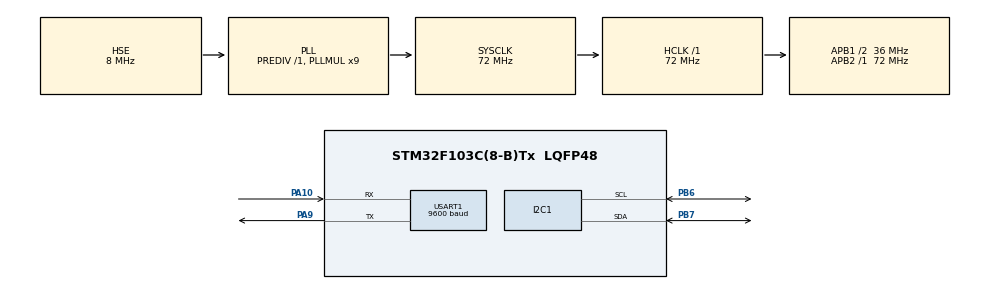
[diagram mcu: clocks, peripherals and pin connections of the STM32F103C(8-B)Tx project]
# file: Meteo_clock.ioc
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FREERTOS.Queues01=myQueue,5,uint16_t,0,Static,myQueueBuffer,myQueueControlBlock
FREERTOS.Tasks01=defaultTask,24,128,StartDefaultTask,Default,NULL,Dynamic,NULL,NULL;my_BME280_Task,8,200,Start_BME280_Task,Default,NULL,Static,my_BME280_TaskBuffer,my_BME280_TaskControlBlock;my_MHZ19B_Task,8,300,Start_MHZ19B_Task,Default,NULL,Static,my_MHZ19B_TaskBuffer,my_MHZ19B_TaskControlBlock
Mcu.Family=STM32F1
Mcu.Name=STM32F103C(8-B)Tx
Mcu.Package=LQFP48
NVIC.PriorityGroup=NVIC_PRIORITYGROUP_4
NVIC.TIM4_IRQn=true\:0\:0\:false\:false\:true\:false\:false\:true
NVIC.TimeBase=TIM4_IRQn
NVIC.TimeBaseIP=TIM4
NVIC.USART1_IRQn=true\:5\:0\:false\:false\:true\:true\:true\:true
PA10.Mode=Asynchronous
PA10.Signal=USART1_RX
PA13.Mode=Trace_Asynchronous_SW
PA13.Signal=SYS_JTMS-SWDIO
PA14.Mode=Trace_Asynchronous_SW
PA14.Signal=SYS_JTCK-SWCLK
PA9.Mode=Asynchronous
PA9.Signal=USART1_TX
PB3.Mode=Trace_Asynchronous_SW
PB3.Signal=SYS_JTDO-TRACESWO
PB6.Mode=I2C
PB6.Signal=I2C1_SCL
PB7.Mode=I2C
PB7.Signal=I2C1_SDA
PD0-OSC_IN.Mode=HSE-External-Oscillator
PD0-OSC_IN.Signal=RCC_OSC_IN
PD1-OSC_OUT.Mode=HSE-External-Oscillator
PD1-OSC_OUT.Signal=RCC_OSC_OUT
ProjectManager.HeapSize=0x200
ProjectManager.StackSize=0x400
ProjectManager.TargetToolchain=STM32CubeIDE
RCC.ADCPresc=RCC_ADCPCLK2_DIV6
RCC.AHBFreq_Value=72000000
RCC.APB1CLKDivider=RCC_HCLK_DIV2
RCC.APB1Freq_Value=36000000
RCC.APB1TimFreq_Value=72000000
RCC.APB2Freq_Value=72000000
RCC.APB2TimFreq_Value=72000000
RCC.HCLKFreq_Value=72000000
RCC.PLLMUL=RCC_PLL_MUL9
RCC.PLLSourceVirtual=RCC_PLLSOURCE_HSE
RCC.SYSCLKFreq_VALUE=72000000
RCC.SYSCLKSource=RCC_SYSCLKSOURCE_PLLCLK
RCC.USBFreq_Value=72000000
USART1.BaudRate=9600
USART1.VirtualMode=VM_ASYNC
VP_FREERTOS_VS_CMSIS_V2.Mode=CMSIS_V2
VP_SYS_VS_tim4.Mode=TIM4
board=custom

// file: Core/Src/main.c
/* USER CODE BEGIN Header */
/**
 ******************************************************************************
 * @file           : main.c
 * @brief          : Main program body
 ******************************************************************************
 * @attention
 *
 * <h2><center>&copy; Copyright (c) 2021 STMicroelectronics.
 * All rights reserved.</center></h2>
 *
 * This software component is licensed by ST under BSD 3-Clause license,
 * the "License"; You may not use this file except in compliance with the
 * License. You may obtain a copy of the License at:
 *                        opensource.org/licenses/BSD-3-Clause
 *
 ******************************************************************************
 */
/* USER CODE END Header */
#include "main.h"
#include "cmsis_os.h"

/* USER CODE BEGIN Includes */
#include <stdlib.h>  /* For BME280 */
#include <string.h>  /* For BME280 */
#include "bme280.h"  /* For BME280 */
#include <stdio.h>   /* For printf */
#include "i2c-lcd.h" /* For LCD */
/*-------------------------------для MH-Z19B------------------------------------*/
#define rx_buffer_size 64
uint8_t rx_buffer[rx_buffer_size] = { 0, };
uint16_t rx_buffer_len; // Переменная для длинны данных.
uint16_t CO2_concentration;
uint8_t tx_buffer[9] = { 0xFF, 0x01, 0x86, 0x00, 0x00, 0x00, 0x00, 0x00, 0x79 };
unsigned long T;
uint8_t crc_check;
/* USER CODE END Includes */

typedef StaticTask_t osStaticThreadDef_t;
typedef StaticQueue_t osStaticMessageQDef_t;

I2C_HandleTypeDef hi2c1;

UART_HandleTypeDef huart1;

/* Definitions for defaultTask */
osThreadId_t defaultTaskHandle;
const osThreadAttr_t defaultTask_attributes = { .name = "defaultTask",
		.priority = (osPriority_t) osPriorityNormal, .stack_size = 128 * 4 };
/* Definitions for my_BME280_Task */
osThreadId_t my_BME280_TaskHandle;
uint32_t my_BME280_TaskBuffer[200];
osStaticThreadDef_t my_BME280_TaskControlBlock;
const osThreadAttr_t my_BME280_Task_attributes = { .name = "my_BME280_Task",
		.stack_mem = &my_BME280_TaskBuffer[0], .stack_size =
				sizeof(my_BME280_TaskBuffer), .cb_mem =
				&my_BME280_TaskControlBlock, .cb_size =
				sizeof(my_BME280_TaskControlBlock), .priority =
				(osPriority_t) osPriorityLow, };
/* Definitions for my_MHZ19B_Task */
osThreadId_t my_MHZ19B_TaskHandle;
uint32_t my_MHZ19B_TaskBuffer[300];
osStaticThreadDef_t my_MHZ19B_TaskControlBlock;
const osThreadAttr_t my_MHZ19B_Task_attributes = { .name = "my_MHZ19B_Task",
		.stack_mem = &my_MHZ19B_TaskBuffer[0], .stack_size =
				sizeof(my_MHZ19B_TaskBuffer), .cb_mem =
				&my_MHZ19B_TaskControlBlock, .cb_size =
				sizeof(my_MHZ19B_TaskControlBlock), .priority =
				(osPriority_t) osPriorityLow, };
/* Definitions for myQueue */
osMessageQueueId_t myQueueHandle;
uint8_t myQueueBuffer[5 * sizeof(uint16_t)];
osStaticMessageQDef_t myQueueControlBlock;
const osMessageQueueAttr_t myQueue_attributes = { .name = "myQueue", .cb_mem =
		&myQueueControlBlock, .cb_size = sizeof(myQueueControlBlock), .mq_mem =
		&myQueueBuffer, .mq_size = sizeof(myQueueBuffer) };

void SystemClock_Config(void);
static void MX_GPIO_Init(void);
static void MX_I2C1_Init(void);
static void MX_USART1_UART_Init(void);
void StartDefaultTask(void *argument);
void Start_BME280_Task(void *argument);
void Start_MHZ19B_Task(void *argument);

/* USER CODE BEGIN 0 */
/*-----------------------------for prinf--------------------------------------*/
int _write(int file, uint8_t *ptr, int len) {
	for (int DataIdx = 0; DataIdx < len; DataIdx++) {
		ITM_SendChar(*ptr++);
	}
	return len;
}
/*-----------------------------For BME280--------------------------------------*/

float temperature;
float humidity;
float pressure;

struct bme280_dev dev;
struct bme280_data comp_data;
int8_t rslt;

char line1[16];
char line2[16];

int8_t user_i2c_read(uint8_t id, uint8_t reg_addr, uint8_t *data, uint16_t len) {
	if (HAL_I2C_Master_Transmit(&hi2c1, (id << 1), &reg_addr, 1, 10) != HAL_OK)
		return -1;
	if (HAL_I2C_Master_Receive(&hi2c1, (id << 1) | 0x01, data, len, 10)
			!= HAL_OK)
		return -1;

	return 0;
}

void user_delay_ms(uint32_t period) {
	HAL_Delay(period);
}

int8_t user_i2c_write(uint8_t id, uint8_t reg_addr, uint8_t *data, uint16_t len) {
	int8_t *buf;
	buf = malloc(len + 1);
	buf[0] = reg_addr;
	memcpy(buf + 1, data, len);

	if (HAL_I2C_Master_Transmit(&hi2c1, (id << 1), (uint8_t*) buf, len + 1,
	HAL_MAX_DELAY) != HAL_OK)
		return -1;

	free(buf);
	return 0;
}
/*-----------------------------для MH-Z19Bf--------------------------------------*/

/*------------------------IDLE_Callback---------------------------------------*/
void HAL_UART_IDLE_Callback(UART_HandleTypeDef *huart) {
	char str_co2[20] = {0};// for LCD
	if (huart == &huart1) { //проверка, из нужного ли uart пришли данные
		//printf("IDLE = OK\n\r");
		__HAL_UART_DISABLE_IT(&huart1, UART_IT_IDLE);
		rx_buffer_len = rx_buffer_size - huart->RxXferCount;

		/*----------основные действия с входящими данными-----------*/
/*		printf("rx_buffer = %X", rx_buffer[0]);
		printf(" %X", rx_buffer[1]);
		printf(" %X", rx_buffer[2]);
		printf(" %X", rx_buffer[3]);
		printf(" %X", rx_buffer[4]);
		printf(" %X", rx_buffer[5]);
		printf(" %X", rx_buffer[6]);
		printf(" %X", rx_buffer[7]);
		printf(" %X\r\n", rx_buffer[8]);
*/
		crc_check = (~(rx_buffer[1] + rx_buffer[2] + rx_buffer[3] + rx_buffer[4]
				+ rx_buffer[5] + rx_buffer[6] + rx_buffer[7]) + 1);
		if (crc_check == rx_buffer[8]) {
			printf("CRC = OK\r\n");
			CO2_concentration = rx_buffer[2] * 256 + rx_buffer[3];
			printf("CO2 = %d\r\n", CO2_concentration);
			sprintf(str_co2, "CO2:%d", CO2_concentration);
			lcd_put_cur(0, 8); // To LCD
			lcd_send_string(str_co2); // To LCD
			//lcd_send_string("mm.Hg");
		} else {
			printf("CRC != OK\r\n");
		}

		/*----------основные действия с входящими данными-----------*/

		HAL_UART_AbortReceive_IT(&huart1);
		__HAL_UART_CLEAR_IDLEFLAG(&huart1);
		__HAL_UART_ENABLE_IT(&huart1, UART_IT_IDLE);
		HAL_UART_Receive_IT(&huart1, rx_buffer, rx_buffer_size);
	}
}
/*------------------------IDLE_Callback---------------------------------------*/

/*------------------------RxCpltCallback---------------------------------------*/
void HAL_UART_RxCpltCallback(UART_HandleTypeDef *huart) {
	if (huart == &huart1) { //проверка, из нужного ли uart пришли данные
		printf("RxCpltCallback = OK\n\r");
		__HAL_UART_DISABLE_IT(&huart1, UART_IT_IDLE);

		printf("rx_buffer is overflow\n\r");

		HAL_UART_AbortReceive_IT(&huart1);
		__HAL_UART_CLEAR_IDLEFLAG(&huart1);
		__HAL_UART_ENABLE_IT(&huart1, UART_IT_IDLE);
		HAL_UART_Receive_IT(&huart1, rx_buffer, rx_buffer_size);

	}
}
/*------------------------RxCpltCallback---------------------------------------*/
/*------------------------End for MH-Z19Bf-------------------------------------*/
/* USER CODE END 0 */

int main(void) {

	/* MCU Configuration--------------------------------------------------------*/

	/* Reset of all peripherals, Initializes the Flash interface and the Systick. */
	HAL_Init();

	/* Configure the system clock */
	SystemClock_Config();

	/* Initialize all configured peripherals */
	MX_GPIO_Init();
	MX_I2C1_Init();
	MX_USART1_UART_Init();
	/* USER CODE BEGIN 2 */
	/* BME280 */
	dev.dev_id = BME280_I2C_ADDR_PRIM;
	dev.intf = BME280_I2C_INTF;
	dev.read = user_i2c_read;
	dev.write = user_i2c_write;
	dev.delay_ms = user_delay_ms;

	rslt = bme280_init(&dev);

	/* BME280 */
	dev.settings.osr_h = BME280_OVERSAMPLING_1X;
	dev.settings.osr_p = BME280_OVERSAMPLING_16X;
	dev.settings.osr_t = BME280_OVERSAMPLING_2X;
	dev.settings.filter = BME280_FILTER_COEFF_16;
	rslt = bme280_set_sensor_settings(
			BME280_OSR_PRESS_SEL | BME280_OSR_TEMP_SEL | BME280_OSR_HUM_SEL
					| BME280_FILTER_SEL, &dev);

	/*-----------------------------For LCD-------------------------------------*/
	lcd_init();
	lcd_clear(); // Очищаем LCD
	lcd_put_cur(0, 0); // Устанавливаем курсор в нужное место
	lcd_send_string("Hello World!");
	HAL_Delay(5000);
	lcd_clear(); // Очищаем LCD

	lcd_put_cur(1, 0); // Устанавливаем курсор в нужное место
	lcd_send_string("Cool, It works!");
	/*------------------------For MH-Z19Bf---------------------------------------*/
	__HAL_UART_ENABLE_IT(&huart1, UART_IT_IDLE);
	HAL_UART_Receive_IT(&huart1, rx_buffer, rx_buffer_size); // Прием данных
	T = HAL_GetTick();
	/*------------------------End for MH-Z19Bf---------------------------------------*/
	/* USER CODE END 2 */

	/* Init scheduler */
	osKernelInitialize();

	/* Create the queue(s) */
	/* creation of myQueue */
	myQueueHandle = osMessageQueueNew(5, sizeof(uint16_t), &myQueue_attributes);

	/* Create the thread(s) */
	/* creation of defaultTask */
	defaultTaskHandle = osThreadNew(StartDefaultTask, NULL,
			&defaultTask_attributes);

	/* creation of my_BME280_Task */
	my_BME280_TaskHandle = osThreadNew(Start_BME280_Task, NULL,
			&my_BME280_Task_attributes);

	/* creation of my_MHZ19B_Task */
	my_MHZ19B_TaskHandle = osThreadNew(Start_MHZ19B_Task, NULL,
			&my_MHZ19B_Task_attributes);

	/* Start scheduler */
	osKernelStart();

	/* We should never get here as control is now taken by the scheduler */
	/* Infinite loop */
	while (1) {

	}
}

void SystemClock_Config(void) {
	RCC_OscInitTypeDef RCC_OscInitStruct = { 0 };
	RCC_ClkInitTypeDef RCC_ClkInitStruct = { 0 };

	/** Initializes the RCC Oscillators according to the specified parameters
	 * in the RCC_OscInitTypeDef structure.
	 */
	RCC_OscInitStruct.OscillatorType = RCC_OSCILLATORTYPE_HSE;
	RCC_OscInitStruct.HSEState = RCC_HSE_ON;
	RCC_OscInitStruct.HSEPredivValue = RCC_HSE_PREDIV_DIV1;
	RCC_OscInitStruct.HSIState = RCC_HSI_ON;
	RCC_OscInitStruct.PLL.PLLState = RCC_PLL_ON;
	RCC_OscInitStruct.PLL.PLLSource = RCC_PLLSOURCE_HSE;
	RCC_OscInitStruct.PLL.PLLMUL = RCC_PLL_MUL9;
	if (HAL_RCC_OscConfig(&RCC_OscInitStruct) != HAL_OK) {
		Error_Handler();
	}
	/** Initializes the CPU, AHB and APB buses clocks
	 */
	RCC_ClkInitStruct.ClockType = RCC_CLOCKTYPE_HCLK | RCC_CLOCKTYPE_SYSCLK
			| RCC_CLOCKTYPE_PCLK1 | RCC_CLOCKTYPE_PCLK2;
	RCC_ClkInitStruct.SYSCLKSource = RCC_SYSCLKSOURCE_PLLCLK;
	RCC_ClkInitStruct.AHBCLKDivider = RCC_SYSCLK_DIV1;
	RCC_ClkInitStruct.APB1CLKDivider = RCC_HCLK_DIV2;
	RCC_ClkInitStruct.APB2CLKDivider = RCC_HCLK_DIV1;

	if (HAL_RCC_ClockConfig(&RCC_ClkInitStruct, FLASH_LATENCY_2) != HAL_OK) {
		Error_Handler();
	}
}

static void MX_I2C1_Init(void) {

	hi2c1.Instance = I2C1;
	hi2c1.Init.ClockSpeed = 100000;
	hi2c1.Init.DutyCycle = I2C_DUTYCYCLE_2;
	hi2c1.Init.OwnAddress1 = 0;
	hi2c1.Init.AddressingMode = I2C_ADDRESSINGMODE_7BIT;
	hi2c1.Init.DualAddressMode = I2C_DUALADDRESS_DISABLE;
	hi2c1.Init.OwnAddress2 = 0;
	hi2c1.Init.GeneralCallMode = I2C_GENERALCALL_DISABLE;
	hi2c1.Init.NoStretchMode = I2C_NOSTRETCH_DISABLE;
	if (HAL_I2C_Init(&hi2c1) != HAL_OK) {
		Error_Handler();
	}

}

static void MX_USART1_UART_Init(void) {

	huart1.Instance = USART1;
	huart1.Init.BaudRate = 9600;
	huart1.Init.WordLength = UART_WORDLENGTH_8B;
	huart1.Init.StopBits = UART_STOPBITS_1;
	huart1.Init.Parity = UART_PARITY_NONE;
	huart1.Init.Mode = UART_MODE_TX_RX;
	huart1.Init.HwFlowCtl = UART_HWCONTROL_NONE;
	huart1.Init.OverSampling = UART_OVERSAMPLING_16;
	if (HAL_UART_Init(&huart1) != HAL_OK) {
		Error_Handler();
	}

}

static void MX_GPIO_Init(void) {

	/* GPIO Ports Clock Enable */
	__HAL_RCC_GPIOD_CLK_ENABLE();
	__HAL_RCC_GPIOA_CLK_ENABLE();
	__HAL_RCC_GPIOB_CLK_ENABLE();

}

void StartDefaultTask(void *argument) {
	for (;;) {
		osDelay(1);
	}
}

void Start_BME280_Task(void *argument) {
	/* USER CODE BEGIN Start_BME280_Task */
	/* Infinite loop */
	char str_t[20] = { 0 };
	char str_h[20] = { 0 };
	char str_p[20] = { 0 };
	for (;;) {
		rslt = bme280_set_sensor_mode(BME280_FORCED_MODE, &dev);
		dev.delay_ms(40);
		/* BME280 getrslt */
		rslt = bme280_get_sensor_data(BME280_ALL, &comp_data, &dev);
		if (rslt == BME280_OK) {
			temperature = comp_data.temperature / 100.0; /* °C  */
			humidity = comp_data.humidity / 1024.0; /* %   */
			pressure = comp_data.pressure / 10000.0; /* hPa */

			//printf("TEMP: %03.1f \n", temperature);
			//printf("HUMID: %03.1f \n", humidity);
			//printf("PRESSURE: %03.1f \n", pressure);

			sprintf(str_t, "T-%.1f", temperature);
			lcd_put_cur(0, 0);
			lcd_send_string(str_t);
			lcd_send_string("C");

			sprintf(str_h, "H-%.1f", humidity);
			lcd_put_cur(1, 9);
			lcd_send_string(str_h);
			lcd_send_string("%");

			sprintf(str_p, "P:%.1f", pressure);
			lcd_put_cur(1, 0);
			lcd_send_string(str_p);
			//lcd_send_string("mm.Hg");

		}
	}
	/* USER CODE END Start_BME280_Task */
}

void Start_MHZ19B_Task(void *argument) {
	/* USER CODE BEGIN Start_MHZ19B_Task */
	/* Infinite loop */
	for (;;) {
		if (HAL_GetTick() - T >= 1000) {
			T = HAL_GetTick();
			HAL_UART_Transmit_IT(&huart1, tx_buffer, 9);
		}
	}
	osDelay(1000);
	/* USER CODE END Start_MHZ19B_Task */
}

void HAL_TIM_PeriodElapsedCallback(TIM_HandleTypeDef *htim) {
	if (htim->Instance == TIM4) {
		HAL_IncTick();
	}
}

void Error_Handler(void) {
	__disable_irq();
	while (1) {
	}
}

/************************ (C) COPYRIGHT STMicroelectronics *****END OF FILE****/
